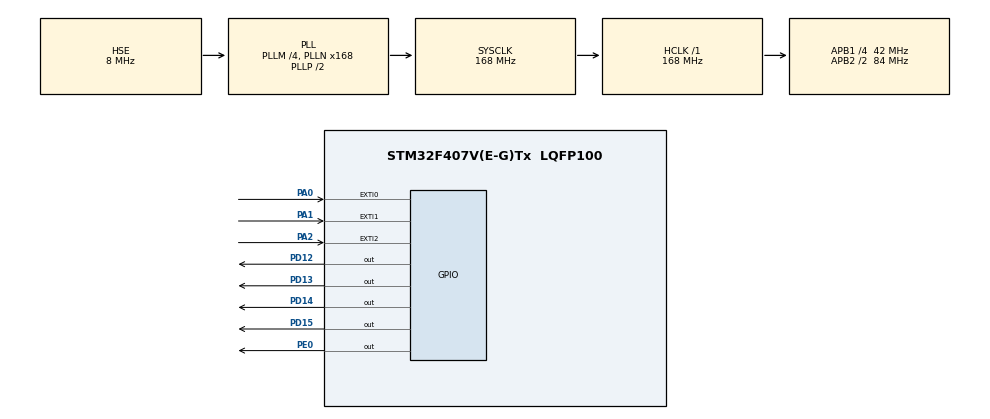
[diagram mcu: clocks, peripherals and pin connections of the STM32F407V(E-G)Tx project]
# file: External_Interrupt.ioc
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Mcu.Family=STM32F4
Mcu.Name=STM32F407V(E-G)Tx
Mcu.Package=LQFP100
NVIC.EXTI0_IRQn=true\:0\:0\:false\:false\:true\:true\:true
NVIC.EXTI1_IRQn=true\:0\:0\:false\:false\:true\:true\:true
NVIC.EXTI2_IRQn=true\:0\:0\:false\:false\:true\:true\:true
NVIC.PriorityGroup=NVIC_PRIORITYGROUP_4
PA0-WKUP.GPIO_PuPd=GPIO_PULLDOWN
PA0-WKUP.Signal=GPXTI0
PA1.GPIO_PuPd=GPIO_PULLDOWN
PA1.Signal=GPXTI1
PA2.GPIO_PuPd=GPIO_PULLDOWN
PA2.Signal=GPXTI2
PD12.GPIO_Speed=GPIO_SPEED_FREQ_VERY_HIGH
PD12.Signal=GPIO_Output
PD13.GPIO_Speed=GPIO_SPEED_FREQ_VERY_HIGH
PD13.Signal=GPIO_Output
PD14.GPIO_Speed=GPIO_SPEED_FREQ_VERY_HIGH
PD14.Signal=GPIO_Output
PD15.GPIO_Speed=GPIO_SPEED_FREQ_VERY_HIGH
PD15.Signal=GPIO_Output
PE0.GPIO_Speed=GPIO_SPEED_FREQ_VERY_HIGH
PE0.Signal=GPIO_Output
PH0-OSC_IN.Mode=HSE-External-Oscillator
PH0-OSC_IN.Signal=RCC_OSC_IN
PH1-OSC_OUT.Mode=HSE-External-Oscillator
PH1-OSC_OUT.Signal=RCC_OSC_OUT
ProjectManager.HeapSize=0x200
ProjectManager.StackSize=0x400
ProjectManager.TargetToolchain=STM32CubeIDE
RCC.48MHZClocksFreq_Value=84000000
RCC.AHBFreq_Value=168000000
RCC.APB1CLKDivider=RCC_HCLK_DIV4
RCC.APB1Freq_Value=42000000
RCC.APB1TimFreq_Value=84000000
RCC.APB2CLKDivider=RCC_HCLK_DIV2
RCC.APB2Freq_Value=84000000
RCC.APB2TimFreq_Value=168000000
RCC.CortexFreq_Value=168000000
RCC.HCLKFreq_Value=168000000
RCC.HSE_VALUE=8000000
RCC.HSI_VALUE=16000000
RCC.LSE_VALUE=32768
RCC.PLLM=4
RCC.PLLN=168
RCC.PLLSourceVirtual=RCC_PLLSOURCE_HSE
RCC.SYSCLKFreq_VALUE=168000000
RCC.SYSCLKSource=RCC_SYSCLKSOURCE_PLLCLK
RCC.VCOOutputFreq_Value=336000000
board=custom

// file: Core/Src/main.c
/* USER CODE BEGIN Header */
/**
  ******************************************************************************
  * @file           : main.c
  * @brief          : Main program body
  ******************************************************************************
  * @attention
  *
  * <h2><center>&copy; Copyright (c) 2022 STMicroelectronics.
  * All rights reserved.</center></h2>
  *
  * This software component is licensed by ST under BSD 3-Clause license,
  * the "License"; You may not use this file except in compliance with the
  * License. You may obtain a copy of the License at:
  *                        opensource.org/licenses/BSD-3-Clause
  *
  ******************************************************************************
  */
/* USER CODE END Header */
#include "main.h"

/* USER CODE BEGIN Includes */
int count=0,i=0;
/* USER CODE END Includes */

void SystemClock_Config(void);
static void MX_GPIO_Init(void);

/* USER CODE BEGIN 0 */
void HAL_GPIO_EXTI_Callback(uint16_t GPIO_Pin)
{
	i++;
		if(HAL_GPIO_ReadPin(GPIOA, GPIO_PIN_0)){
			HAL_GPIO_WritePin(GPIOE, GPIO_PIN_0, GPIO_PIN_RESET);

		if(i==0)
		{
			count=1000;
		}

	else if(i==1)
	{
		count=750;
	}
	else if(i==2)
	{
		count=500;
	}else
	{
		count=250;
		i=0;
	}
}
		if(HAL_GPIO_ReadPin(GPIOA, GPIO_PIN_1)){

			count=2000;
		}

		if(HAL_GPIO_ReadPin(GPIOA, GPIO_PIN_2))
		{

			count=3000;
				}
}
/* USER CODE END 0 */

int main(void)
{

  /* MCU Configuration--------------------------------------------------------*/

  /* Reset of all peripherals, Initializes the Flash interface and the Systick. */
  HAL_Init();

  /* Configure the system clock */
  SystemClock_Config();

  /* Initialize all configured peripherals */
  MX_GPIO_Init();

  /* Infinite loop */
  while (1)
  {

    /* USER CODE BEGIN 3 */

	  HAL_GPIO_TogglePin(GPIOD, GPIO_PIN_All);
	  HAL_Delay(count);
  }
  /* USER CODE END 3 */
}

void SystemClock_Config(void)
{
  RCC_OscInitTypeDef RCC_OscInitStruct = {0};
  RCC_ClkInitTypeDef RCC_ClkInitStruct = {0};

  /** Configure the main internal regulator output voltage
  */
  __HAL_RCC_PWR_CLK_ENABLE();
  __HAL_PWR_VOLTAGESCALING_CONFIG(PWR_REGULATOR_VOLTAGE_SCALE1);
  /** Initializes the RCC Oscillators according to the specified parameters
  * in the RCC_OscInitTypeDef structure.
  */
  RCC_OscInitStruct.OscillatorType = RCC_OSCILLATORTYPE_HSE;
  RCC_OscInitStruct.HSEState = RCC_HSE_ON;
  RCC_OscInitStruct.PLL.PLLState = RCC_PLL_ON;
  RCC_OscInitStruct.PLL.PLLSource = RCC_PLLSOURCE_HSE;
  RCC_OscInitStruct.PLL.PLLM = 4;
  RCC_OscInitStruct.PLL.PLLN = 168;
  RCC_OscInitStruct.PLL.PLLP = RCC_PLLP_DIV2;
  RCC_OscInitStruct.PLL.PLLQ = 4;
  if (HAL_RCC_OscConfig(&RCC_OscInitStruct) != HAL_OK)
  {
    Error_Handler();
  }
  /** Initializes the CPU, AHB and APB buses clocks
  */
  RCC_ClkInitStruct.ClockType = RCC_CLOCKTYPE_HCLK|RCC_CLOCKTYPE_SYSCLK
                              |RCC_CLOCKTYPE_PCLK1|RCC_CLOCKTYPE_PCLK2;
  RCC_ClkInitStruct.SYSCLKSource = RCC_SYSCLKSOURCE_PLLCLK;
  RCC_ClkInitStruct.AHBCLKDivider = RCC_SYSCLK_DIV1;
  RCC_ClkInitStruct.APB1CLKDivider = RCC_HCLK_DIV4;
  RCC_ClkInitStruct.APB2CLKDivider = RCC_HCLK_DIV2;

  if (HAL_RCC_ClockConfig(&RCC_ClkInitStruct, FLASH_LATENCY_5) != HAL_OK)
  {
    Error_Handler();
  }
}

static void MX_GPIO_Init(void)
{
  GPIO_InitTypeDef GPIO_InitStruct = {0};

  /* GPIO Ports Clock Enable */
  __HAL_RCC_GPIOH_CLK_ENABLE();
  __HAL_RCC_GPIOA_CLK_ENABLE();
  __HAL_RCC_GPIOD_CLK_ENABLE();
  __HAL_RCC_GPIOE_CLK_ENABLE();

  /*Configure GPIO pin Output Level */
  HAL_GPIO_WritePin(GPIOD, GPIO_PIN_12|GPIO_PIN_13|GPIO_PIN_14|GPIO_PIN_15, GPIO_PIN_RESET);

  /*Configure GPIO pin Output Level */
  HAL_GPIO_WritePin(GPIOE, GPIO_PIN_0, GPIO_PIN_RESET);

  /*Configure GPIO pins : PA0 PA1 PA2 */
  GPIO_InitStruct.Pin = GPIO_PIN_0|GPIO_PIN_1|GPIO_PIN_2;
  GPIO_InitStruct.Mode = GPIO_MODE_IT_RISING;
  GPIO_InitStruct.Pull = GPIO_PULLDOWN;
  HAL_GPIO_Init(GPIOA, &GPIO_InitStruct);

  /*Configure GPIO pins : PD12 PD13 PD14 PD15 */
  GPIO_InitStruct.Pin = GPIO_PIN_12|GPIO_PIN_13|GPIO_PIN_14|GPIO_PIN_15;
  GPIO_InitStruct.Mode = GPIO_MODE_OUTPUT_PP;
  GPIO_InitStruct.Pull = GPIO_NOPULL;
  GPIO_InitStruct.Speed = GPIO_SPEED_FREQ_VERY_HIGH;
  HAL_GPIO_Init(GPIOD, &GPIO_InitStruct);

  /*Configure GPIO pin : PE0 */
  GPIO_InitStruct.Pin = GPIO_PIN_0;
  GPIO_InitStruct.Mode = GPIO_MODE_OUTPUT_PP;
  GPIO_InitStruct.Pull = GPIO_NOPULL;
  GPIO_InitStruct.Speed = GPIO_SPEED_FREQ_VERY_HIGH;
  HAL_GPIO_Init(GPIOE, &GPIO_InitStruct);

  /* EXTI interrupt init*/
  HAL_NVIC_SetPriority(EXTI0_IRQn, 0, 0);
  HAL_NVIC_EnableIRQ(EXTI0_IRQn);

  HAL_NVIC_SetPriority(EXTI1_IRQn, 0, 0);
  HAL_NVIC_EnableIRQ(EXTI1_IRQn);

  HAL_NVIC_SetPriority(EXTI2_IRQn, 0, 0);
  HAL_NVIC_EnableIRQ(EXTI2_IRQn);

}

void Error_Handler(void)
{
  __disable_irq();
  while (1)
  {
  }
}

/************************ (C) COPYRIGHT STMicroelectronics *****END OF FILE****/
